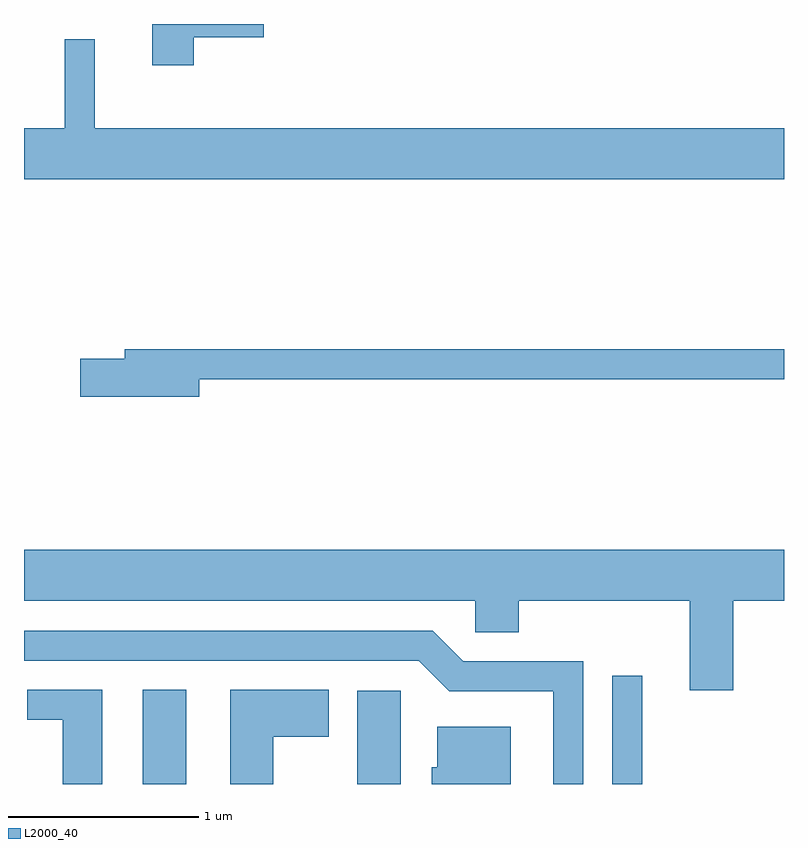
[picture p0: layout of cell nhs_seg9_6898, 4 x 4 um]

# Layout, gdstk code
import gdstk
lib = gdstk.Library(unit=1e-6, precision=1e-09)
def R(c, l, rs):  # rectangles x0, y0, x1, y1
    for r in rs: c.add(gdstk.rectangle(r[:2], r[2:], *l))
def P(c, l, *ps):  # polygons
    for p in ps: c.add(gdstk.Polygon(p, *l))
L2000_40 = (2000, 40)

nhs_seg9_6898 = lib.new_cell('nhs_seg9_6898')
R(nhs_seg9_6898, L2000_40, [(390.236,1966.432,390.464,1966.929), (391.366,1966.432,391.594,1966.924), (392.706,1966.432,392.864,1967.003)])
P(nhs_seg9_6898, L2000_40, [(390.504,1970.361),(390.874,1970.361),(390.874,1970.432),(390.286,1970.432),(390.286,1970.216),(390.504,1970.216)],
  [(393.611,1969.884),(389.984,1969.884),(389.984,1970.353),(389.826,1970.353),(389.826,1969.884),(389.611,1969.884),(389.611,1969.616),(393.611,1969.616)],
  [(390.534,1968.561),(393.611,1968.561),(393.611,1968.719),(390.141,1968.719),(390.141,1968.669),(389.906,1968.669),(389.906,1968.471),(390.534,1968.471)],
  [(389.611,1967.396),(391.986,1967.396),(391.986,1967.231),(392.214,1967.231),(392.214,1967.396),(393.116,1967.396),(393.116,1966.926),(393.344,1966.926),(393.344,1967.396),(393.611,1967.396),(393.611,1967.664),(389.611,1967.664)],
  [(392.554,1967.079),(391.922,1967.079),(391.762,1967.239),(389.611,1967.239),(389.611,1967.081),(391.689,1967.081),(391.849,1966.921),(392.396,1966.921),(392.396,1966.432),(392.554,1966.432)],
  [(390.024,1966.929),(389.628,1966.929),(389.628,1966.771),(389.816,1966.771),(389.816,1966.432),(390.024,1966.432)],
  [(390.924,1966.681),(391.214,1966.681),(391.214,1966.929),(390.696,1966.929),(390.696,1966.432),(390.924,1966.432)],
  [(392.174,1966.734),(391.786,1966.734),(391.786,1966.519),(391.756,1966.519),(391.756,1966.432),(392.174,1966.432)])

lib.write_gds('nhs_seg9_6898.gds')
